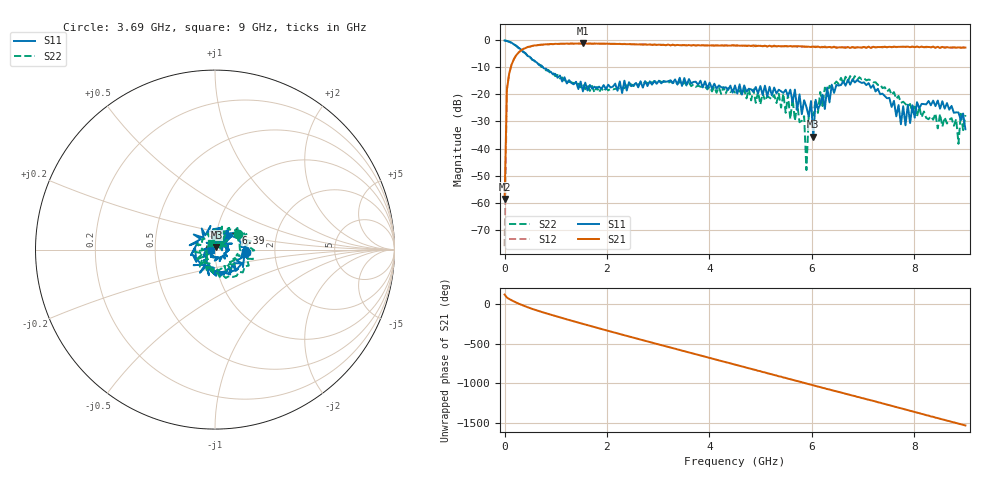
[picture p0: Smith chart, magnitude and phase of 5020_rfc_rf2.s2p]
!Agilent Technologies,E8358A,US40210021,A.06.04.30
!Agilent E8358A: A.06.04.30
!Date: Saturday, April 21, 2018 14:28:17
!Correction: S11(Full 2 Port(1,2)) S21(Full 2 Port(1,2)) S12(Full 2 Port(1,2)) S22(Full 2 Port(1,2))
!S2P File: Measurements: S11, S21, S12, S22:
# Hz S  RI  R 50
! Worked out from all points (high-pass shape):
!   201 points, 300 kHz to 9 GHz, reference 50 ohm
!   highest |S21| = -1.13 dB at 1.53 GHz (marker M1); lowest = -58.7 dB at 300 kHz (marker M2)
!   |S21| within 3 dB of the highest: 294.4 MHz to end of sweep
!   lowest |S11| = -35.6 dB at 6.03 GHz (marker M3), VSWR 1.03, Z = 50.8 + j1.49 ohm
!   |S11| at or under -10 dB: 751.4 MHz to end of sweep
!   |S22| runs from -48.0 to 0.0 dB; largest |S21 - S12| = 0.044
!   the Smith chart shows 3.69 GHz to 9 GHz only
!   S11 on the Smith chart (normalised r, x): 3.69 GHz: 1.41, -0.04; 6.39 GHz: 1.24, +0.24; 9 GHz: 0.96, -0.00
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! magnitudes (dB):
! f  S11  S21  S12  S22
! 300 kHz  0.0  -58.7  -76.1  0.0
! 45.3 MHz  -0.2  -18.2  -18.1  -0.2
! 135.3 MHz  -0.8  -9.0  -9.0  -0.9
! 1.53 GHz  -18.9  -1.1  -1.2  -16.3
! 3.015 GHz  -14.9  -1.6  -1.6  -14.9
! 3.69 GHz  -15.3  -1.7  -1.8  -16.2
! 4.5 GHz  -16.7  -1.9  -1.9  -19.3
! 5.535 GHz  -20.6  -2.2  -2.2  -20.1
! 5.58 GHz  -18.2  -2.1  -2.2  -29.1
! 5.625 GHz  -22.9  -2.2  -2.2  -21.4
! 5.85 GHz  -22.1  -2.3  -2.2  -28.0
! 5.895 GHz  -24.6  -2.3  -2.4  -48.0
! 5.94 GHz  -28.2  -2.3  -2.3  -28.1
! 5.985 GHz  -22.4  -2.4  -2.3  -26.9
! 6.03 GHz  -35.6  -2.3  -2.4  -27.8
! 6.075 GHz  -22.0  -2.5  -2.2  -21.9
! 6.39 GHz  -16.4  -2.7  -2.5  -17.4
! 7.515 GHz  -21.3  -2.3  -2.2  -18.1
! 7.83 GHz  -31.4  -2.4  -2.4  -23.5
! 8.82 GHz  -26.6  -2.6  -2.8  -29.1
! 8.865 GHz  -26.7  -2.6  -2.4  -38.3
! 9 GHz  -32.9  -2.6  -2.6  -27.6
